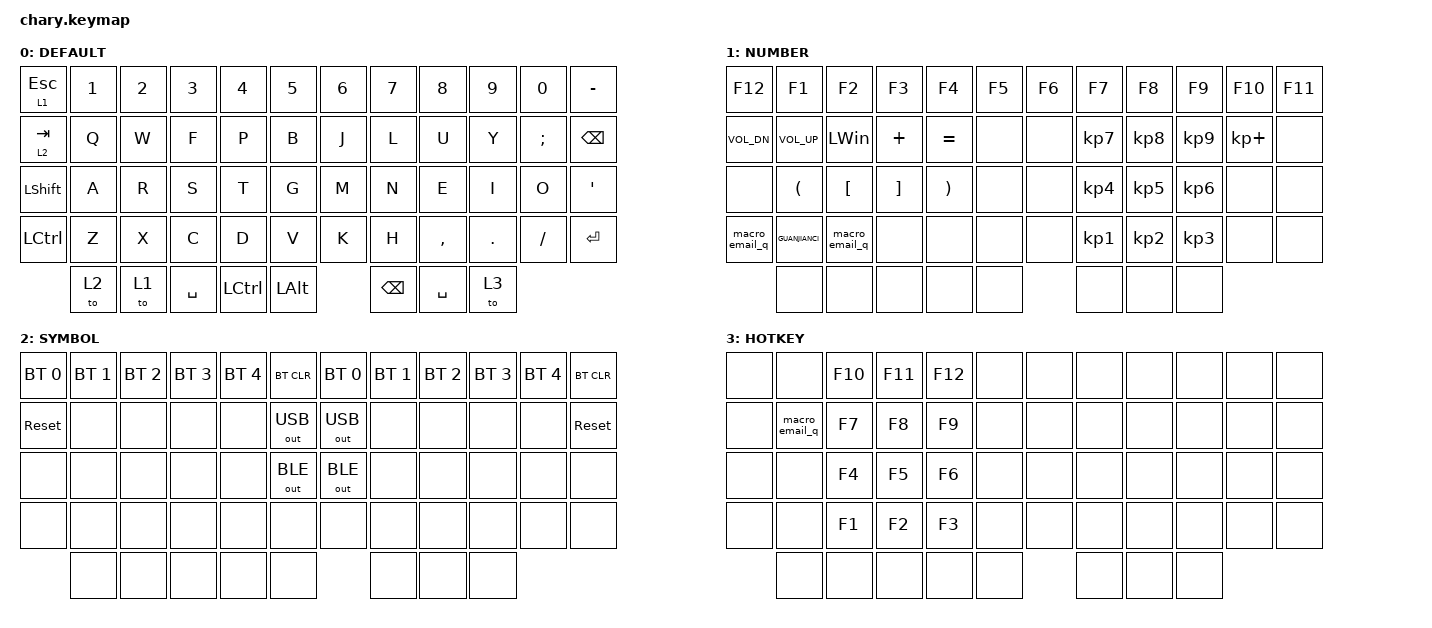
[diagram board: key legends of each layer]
#include <dt-bindings/zmk/mouse.h>
#include <behaviors.dtsi>
#include <dt-bindings/zmk/bt.h>
#include <dt-bindings/zmk/keys.h>
#include <dt-bindings/zmk/outputs.h>
#include <dt-bindings/zmk/pointing.h>

#define DEFAULT 0
#define NUMBER  1
#define SYMBOL  2
#define HOTKEY  3

#define AS(keycode) &as LS(keycode) keycode

/ {
    macros {
        macro_email_q: macro_email_q {
            // 714448168@qq.com

            label = "MACRO_EMAIL_QQ";
            compatible = "zmk,behavior-macro";
            #binding-cells = <0>;
            bindings = <&kp N7 &kp N1 &kp N4 &kp N4 &kp N4 &kp N8 &kp N1 &kp N6 &kp N8 &kp AT &kp Q &kp Q &kp DOT &kp C &kp O &kp M>;
        };

        GUANJIANCI: GUANJIANCI {
            compatible = "zmk,behavior-macro";
            label = "new_macro";
            #binding-cells = <0>;
            bindings = <&kp LSHIFT &kp LBKT &kp RBKT &kp LEFT &kp LSHIFT>;
        };
    };

    combos {
        compatible = "zmk,combos";

        lup {
            bindings = <&kp UP>;
            key-positions = <38 39>;
            layers = <0 1>;
            timeout-ms = <50>;
        };

        ldown {
            bindings = <&kp DOWN>;
            key-positions = <40 37>;
            timeout-ms = <50>;
        };

        lleft {
            bindings = <&kp LEFT>;
            key-positions = <37 38>;
            layers = <0 1>;
            timeout-ms = <50>;
        };

        lright {
            bindings = <&kp RIGHT>;
            key-positions = <39 40>;
            layers = <0 1>;
            timeout-ms = <50>;
        };

        rup {
            bindings = <&mkp LCLK>;
            key-positions = <40 41>;
            layers = <0 1>;
            timeout-ms = <50>;
        };

        rdown {
            bindings = <&mkp RCLK>;
            key-positions = <28 29>;
            timeout-ms = <50>;
        };
    };

    keymap {
        compatible = "zmk,keymap";

        default_layer {
            label = "DEFAULT";
            bindings = <
&lt 1 ESC       &kp N1  &kp N2  &kp N3     &kp N4     &kp N5        &kp N6  &kp N7         &kp N8     &kp N9   &kp N0         &kp MINUS
&lt 2 TAB       &kp Q   &kp W   &kp F      &kp P      &kp B         &kp J   &kp L          &kp U      &kp Y    &kp SEMICOLON  &kp BACKSPACE
&kp LEFT_SHIFT  &kp A   &kp R   &kp S      &kp T      &kp G         &kp M   &kp N          &kp E      &kp I    &kp O          &kp SQT
&kp LCTRL       &kp Z   &kp X   &kp C      &kp D      &kp V         &kp K   &kp H          &kp COMMA  &kp DOT  &kp FSLH       &kp ENTER
                &to 2   &to 1   &kp SPACE  &kp LCTRL  &kp LEFT_ALT          &kp BACKSPACE  &kp SPACE  &to 3
            >;
        };

        number_layer {
            label = "NUMBER";
            bindings = <
&kp F12         &kp F1                &kp F2            &kp F3             &kp F4                 &kp F5  &kp F6  &kp F7     &kp F8     &kp F9     &kp F10      &kp F11
&kp C_VOL_DN    &kp C_VOL_UP          &kp LEFT_WIN      &kp PLUS           &kp EQUAL              &none   &none   &kp KP_N7  &kp KP_N8  &kp KP_N9  &kp KP_PLUS  &none
&none           &kp LEFT_PARENTHESIS  &kp LEFT_BRACKET  &kp RIGHT_BRACKET  &kp RIGHT_PARENTHESIS  &none   &none   &kp KP_N4  &kp KP_N5  &kp KP_N6  &none        &none
&macro_email_q  &GUANJIANCI           &macro_email_q    &none              &none                  &none   &none   &kp KP_N1  &kp KP_N2  &kp KP_N3  &none        &none
                &none                 &none             &none              &none                  &none           &none      &none      &none
            >;
        };

        symbol_layer {
            label = "SYMBOL";
            bindings = <
&bt BT_SEL 0  &bt BT_SEL 1  &bt BT_SEL 2  &bt BT_SEL 3  &bt BT_SEL 4  &bt BT_CLR    &bt BT_SEL 0  &bt BT_SEL 1  &bt BT_SEL 2  &bt BT_SEL 3  &bt BT_SEL 4  &bt BT_CLR
&sys_reset    &none         &none         &none         &none         &out OUT_USB  &out OUT_USB  &none         &none         &none         &none         &sys_reset
&none         &none         &none         &none         &none         &out OUT_BLE  &out OUT_BLE  &none         &none         &none         &none         &none
&none         &none         &none         &none         &none         &none         &none         &none         &none         &none         &none         &none
              &none         &none         &none         &none         &none                       &none         &none         &none
            >;
        };

        hotkey_layer {
            label = "HOTKEY";
            bindings = <
&none  &none           &kp F10  &kp F11  &kp F12  &none  &none  &none  &none  &none  &none  &none
&none  &macro_email_q  &kp F7   &kp F8   &kp F9   &none  &none  &none  &none  &none  &none  &none
&none  &none           &kp F4   &kp F5   &kp F6   &none  &none  &none  &none  &none  &none  &none
&none  &none           &kp F1   &kp F2   &kp F3   &none  &none  &none  &none  &none  &none  &none
       &none           &none    &none    &none    &none         &none  &none  &none
            >;
        };
    };
};
